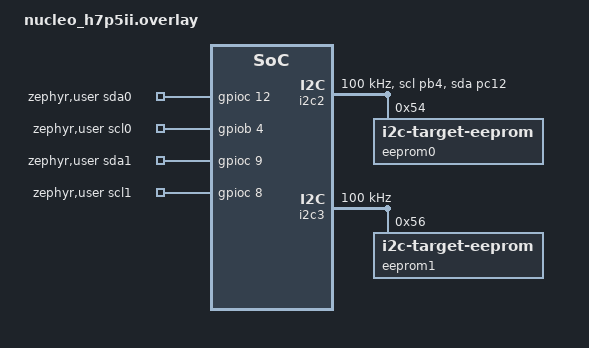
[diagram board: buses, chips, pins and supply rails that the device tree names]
/*
 * SPDX-FileCopyrightText: Copyright (c) 2026 STMicroelectronics
 * SPDX-License-Identifier: Apache-2.0
 */

/* I2C bus pins are exposed on the ST Morpho-64 connectors.
 *
 *  Bus        SDA               SCL
 *          Pin   Hdr         Pin   Hdr
 *  i2c2    PC12  CN10:26     PB4   CN10:28
 *  i2c3    PC9   CN10:3      PC8   CN10:5
 *
 * For the test to pass, short pin PC12 to PC9 (CN10:26 to CN10:3)
 * and PB4 to PC8 (CN10:28 to CN10:5).
 *
 * WARNING: on board revision B01, the silkscreen markings for
 * the ST Morpho-64 connector CN10 are inverted for I2C3 pins:
 * - pin PC9 (CN10:3) is marked as "PC8"
 * - pin PC8 (CN10:5) is marked as "PC9"
 * If using the silkscreen to determine pin names on this revision,
 * pin PC12 must be shorted to the pin marked as "PC8" and pin PB4
 * to the pin marked as "PC9" instead for proper operation.
 */

/ {
	zephyr,user {
		sda0-gpios = <&gpioc 12 0>;
		scl0-gpios = <&gpiob 4 0>;
		sda1-gpios = <&gpioc 9 0>;
		scl1-gpios = <&gpioc 8 0>;
	};
};

&i2c2 {
	pinctrl-0 = <&i2c2_scl_pb4 &i2c2_sda_pc12>;
	pinctrl-names = "default";
	clock-frequency = <I2C_BITRATE_STANDARD>;
	status = "okay";

	eeprom0: eeprom@54 {
		compatible = "zephyr,i2c-target-eeprom";
		reg = <0x54>;
		size = <256>;
	};
};

&i2c3 {
	clock-frequency = <I2C_BITRATE_STANDARD>;

	eeprom1: eeprom@56 {
		compatible = "zephyr,i2c-target-eeprom";
		reg = <0x56>;
		size = <256>;
	};
};
